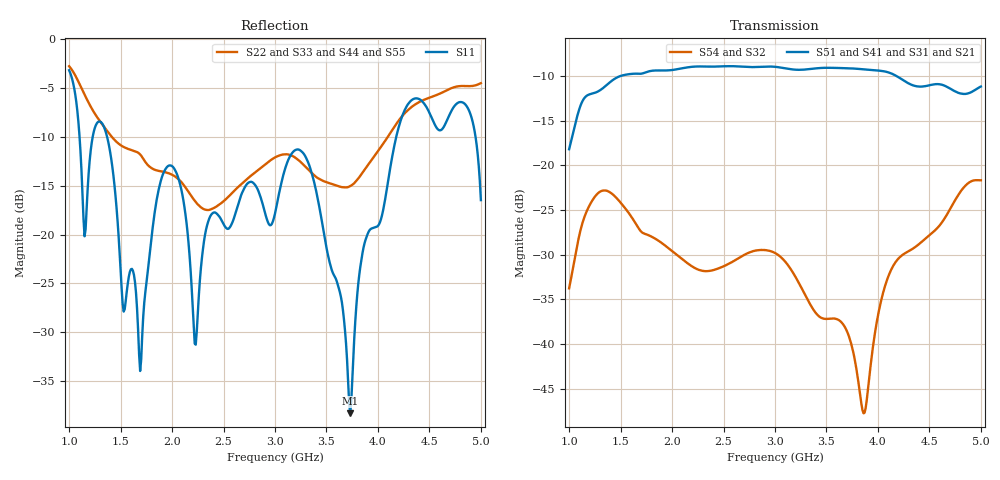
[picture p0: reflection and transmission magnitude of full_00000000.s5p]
! AWR Design Environment (19377) Sat Dec 27 02:53:11 2025
! Document = 'Full'
! nPorts: 5, nXvals: 401
# GHz S DB R 50
!Freq DBS11 AngS11 DBS12 AngS12 DBS13 AngS13 DBS14 AngS14
!	DBS15 AngS15
!	DBS21 AngS21 DBS22 AngS22 DBS23 AngS23 DBS24 AngS24
!	DBS25 AngS25
!	DBS31 AngS31 DBS32 AngS32 DBS33 AngS33 DBS34 AngS34
!	DBS35 AngS35
!	DBS41 AngS41 DBS42 AngS42 DBS43 AngS43 DBS44 AngS44
!	DBS45 AngS45
!	DBS51 AngS51 DBS52 AngS52 DBS53 AngS53 DBS54 AngS54
!	DBS55 AngS55
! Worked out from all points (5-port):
!   401 points, 1 GHz to 5 GHz, reference 50 ohm
!   strongest paths, dB at 1 GHz, 2 GHz, 3 GHz, 4 GHz, 5 GHz:
!     S51: -18.2, -9.3, -9.0, -9.4, -11.2
!     S41: -18.2, -9.3, -9.0, -9.4, -11.2
!     S31: -18.2, -9.3, -9.0, -9.4, -11.2
!     S21: -18.2, -9.3, -9.0, -9.4, -11.2
!     S54: -33.8, -29.6, -29.8, -36.8, -21.7
!     S32: -33.8, -29.6, -29.8, -36.8, -21.7
!   lowest |S11| = -38.3 dB at 3.73 GHz (marker M1), VSWR 1.02, Z = 49.3 + j0.96 ohm
!   |S11| at or under -10 dB: 1.101 GHz to 1.229 GHz (127.6 MHz wide, 10.9 % of centre); 1.369 GHz to 4.177 GHz (2.808 GHz wide, 101 % of centre); 4.948 GHz to end of sweep
